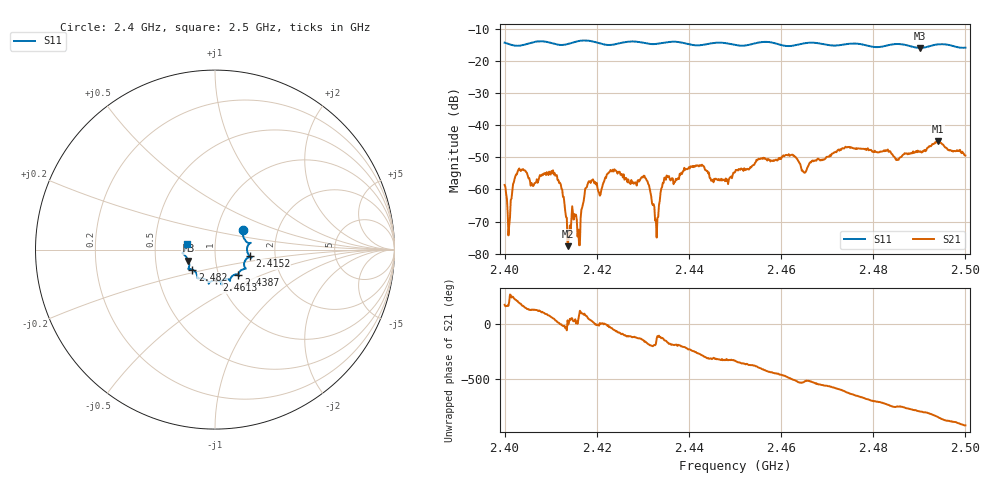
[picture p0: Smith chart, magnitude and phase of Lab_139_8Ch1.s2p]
# Hz S RI R 50
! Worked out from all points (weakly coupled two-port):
!   601 points, 2.4 GHz to 2.5 GHz, reference 50 ohm
!   highest |S21| = -44.97 dB at 2.494 GHz (marker M1); lowest = -77.7 dB at 2.4137 GHz (marker M2)
!   lowest |S11| = -15.9 dB at 2.4902 GHz (marker M3), VSWR 1.38, Z = 36.8 - j4.63 ohm
!   |S11| at or under -10 dB: start of sweep to end of sweep
!   S12 and S22 are empty: the file has one direction only
!   S11 on the Smith chart (normalised r, x): 2.4 GHz: 1.33, +0.31; 2.4152 GHz: 1.48, -0.12; 2.4387 GHz: 1.24, -0.36; 2.4613 GHz: 0.96, -0.34; 2.482 GHz: 0.76, -0.17; 2.5 GHz: 0.73, +0.05
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2.4e9  0.1579 0.1118  -0.00116 0.000191  0 0  0 0
2.401e9  0.1557 0.0967  -0.000259 -9.48e-05  0 0  0 0
2.403e9  0.1615 0.0621  -0.00197 -0.00044  0 0  0 0
2.410667e9  0.1845 0.0242  0.00119 0.00123  0 0  0 0
2.412333e9  0.1779 0.00074  0.00104 -0.000115  0 0  0 0
2.413667e9  0.1827 -0.0202  0.000113 6.57e-05  0 0  0 0
2.415167e9  0.1939 -0.0376  0.000369 0.000187  0 0  0 0
2.416667e9  0.2034 -0.044  -3.1e-05 0.000481  0 0  0 0
2.418e9  0.2039 -0.0421  0.000675 0.000987  0 0  0 0
2.4235e9  0.1619 -0.0784  0.00131 -0.00156  0 0  0 0
2.4305e9  0.1541 -0.1107  -0.00142 -0.000544  0 0  0 0
2.433333e9  0.1324 -0.1317  -0.000175 -0.000329  0 0  0 0
2.434833e9  0.1308 -0.1437  -0.00134 -0.00073  0 0  0 0
2.438667e9  0.1302 -0.1416  -0.00168 0.000898  0 0  0 0
2.45e9  0.0689 -0.1646  0.00165 0.000855  0 0  0 0
2.461333e9  0.00805 -0.1711  -0.00171 -0.00297  0 0  0 0
2.466667e9  -0.0345 -0.1903  -0.00266 -0.000763  0 0  0 0
2.482e9  -0.1261 -0.1113  0.00388 0.000544  0 0  0 0
2.483333e9  -0.1399 -0.1085  0.00377 -0.000833  0 0  0 0
2.490167e9  -0.1482 -0.0612  0.00133 -0.00369  0 0  0 0
2.494e9  -0.1806 -0.0217  -0.00279 -0.0049  0 0  0 0
2.5e9  -0.1582 0.0326  -0.00324 0.000919  0 0  0 0
